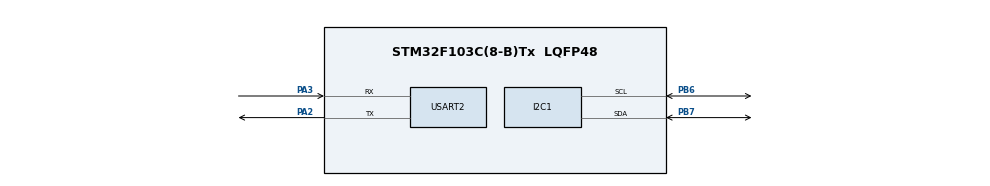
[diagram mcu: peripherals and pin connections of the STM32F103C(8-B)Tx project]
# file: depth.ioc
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Mcu.Family=STM32F1
Mcu.Name=STM32F103C(8-B)Tx
Mcu.Package=LQFP48
NVIC.PriorityGroup=NVIC_PRIORITYGROUP_4
PA13.Mode=Serial_Wire
PA13.Signal=SYS_JTMS-SWDIO
PA14.Mode=Serial_Wire
PA14.Signal=SYS_JTCK-SWCLK
PA2.Mode=Asynchronous
PA2.Signal=USART2_TX
PA3.Mode=Asynchronous
PA3.Signal=USART2_RX
PB6.Mode=I2C
PB6.Signal=I2C1_SCL
PB7.Mode=I2C
PB7.Signal=I2C1_SDA
ProjectManager.HeapSize=0x200
ProjectManager.StackSize=0x400
ProjectManager.TargetToolchain=CMake
RCC.APB1Freq_Value=8000000
RCC.APB2Freq_Value=8000000
USART2.VirtualMode=VM_ASYNC
board=custom

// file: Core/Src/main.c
/* USER CODE BEGIN Header */
/**
  ******************************************************************************
  * @file           : main.c
  * @brief          : Main program body
  ******************************************************************************
  * @attention
  *
  * Copyright (c) 2026 STMicroelectronics.
  * All rights reserved.
  *
  * This software is licensed under terms that can be found in the LICENSE file
  * in the root directory of this software component.
  * If no LICENSE file comes with this software, it is provided AS-IS.
  *
  ******************************************************************************
  */
/* USER CODE END Header */
#include "main.h"
#include "i2c.h"
#include "usart.h"
#include "gpio.h"

/* USER CODE BEGIN Includes */
#include "ms5837_soft.h"
#include <stdio.h>
/* USER CODE END Includes */

void SystemClock_Config(void);

/* USER CODE BEGIN 0 */

int __io_putchar(int ch)
{
    HAL_UART_Transmit(&huart2, (uint8_t *)&ch, 1, HAL_MAX_DELAY);
    return ch;
}

/* USER CODE END 0 */

int main(void)
{

  /* MCU Configuration--------------------------------------------------------*/

  /* Reset of all peripherals, Initializes the Flash interface and the Systick. */
  HAL_Init();

  /* Configure the system clock */
  SystemClock_Config();

  /* Initialize all configured peripherals */
  MX_GPIO_Init();
  MX_I2C1_Init();
  MX_USART2_UART_Init();
  /* USER CODE BEGIN 2 */

  Soft_I2C_Init();
  HAL_Delay(100);

  printf("Init sensor...\r\n");
  while (1) {
      MS5837_Soft_Reset();
      HAL_Delay(20);
      MS5837_Soft_PROM();
      HAL_Delay(20);

      if (!MS5837_Soft_Crc4()) {
          printf("  CRC FAIL - retry\r\n");
      } else {
          printf("  CRC OK\r\n");
          break;
      }
  }

  /* 采集水面大气压参考值 */
  printf("Calibrating atmosphere...\r\n");
  int32_t atm_pressure = 0;
  for (int i = 0; i < 10; i++) {
      MS5837_Soft_GetData();
      atm_pressure += MS5837_Pressure;
      HAL_Delay(200);
  }
  atm_pressure /= 10;
  printf("Atm=%ld mBar\r\n", (long)atm_pressure);

  /* USER CODE END 2 */

  /* Infinite loop */
  while (1)
  {

    /* USER CODE BEGIN 3 */
    MS5837_Soft_GetData();

    float depth_cm = 0.983615f * (MS5837_Pressure - atm_pressure);
    if (depth_cm < 0) depth_cm = 0;

    printf("Depth=%.1f cm | T=%.2f C\r\n", depth_cm, MS5837_Temperature);

    HAL_Delay(1000);
  }
  /* USER CODE END 3 */
}

void SystemClock_Config(void)
{
  RCC_OscInitTypeDef RCC_OscInitStruct = {0};
  RCC_ClkInitTypeDef RCC_ClkInitStruct = {0};

  /** Initializes the RCC Oscillators according to the specified parameters
  * in the RCC_OscInitTypeDef structure.
  */
  RCC_OscInitStruct.OscillatorType = RCC_OSCILLATORTYPE_HSI;
  RCC_OscInitStruct.HSIState = RCC_HSI_ON;
  RCC_OscInitStruct.HSICalibrationValue = RCC_HSICALIBRATION_DEFAULT;
  RCC_OscInitStruct.PLL.PLLState = RCC_PLL_NONE;
  if (HAL_RCC_OscConfig(&RCC_OscInitStruct) != HAL_OK)
  {
    Error_Handler();
  }

  /** Initializes the CPU, AHB and APB buses clocks
  */
  RCC_ClkInitStruct.ClockType = RCC_CLOCKTYPE_HCLK|RCC_CLOCKTYPE_SYSCLK
                              |RCC_CLOCKTYPE_PCLK1|RCC_CLOCKTYPE_PCLK2;
  RCC_ClkInitStruct.SYSCLKSource = RCC_SYSCLKSOURCE_HSI;
  RCC_ClkInitStruct.AHBCLKDivider = RCC_SYSCLK_DIV1;
  RCC_ClkInitStruct.APB1CLKDivider = RCC_HCLK_DIV1;
  RCC_ClkInitStruct.APB2CLKDivider = RCC_HCLK_DIV1;

  if (HAL_RCC_ClockConfig(&RCC_ClkInitStruct, FLASH_LATENCY_0) != HAL_OK)
  {
    Error_Handler();
  }
}

void Error_Handler(void)
{
  __disable_irq();
  while (1)
  {
  }
}
